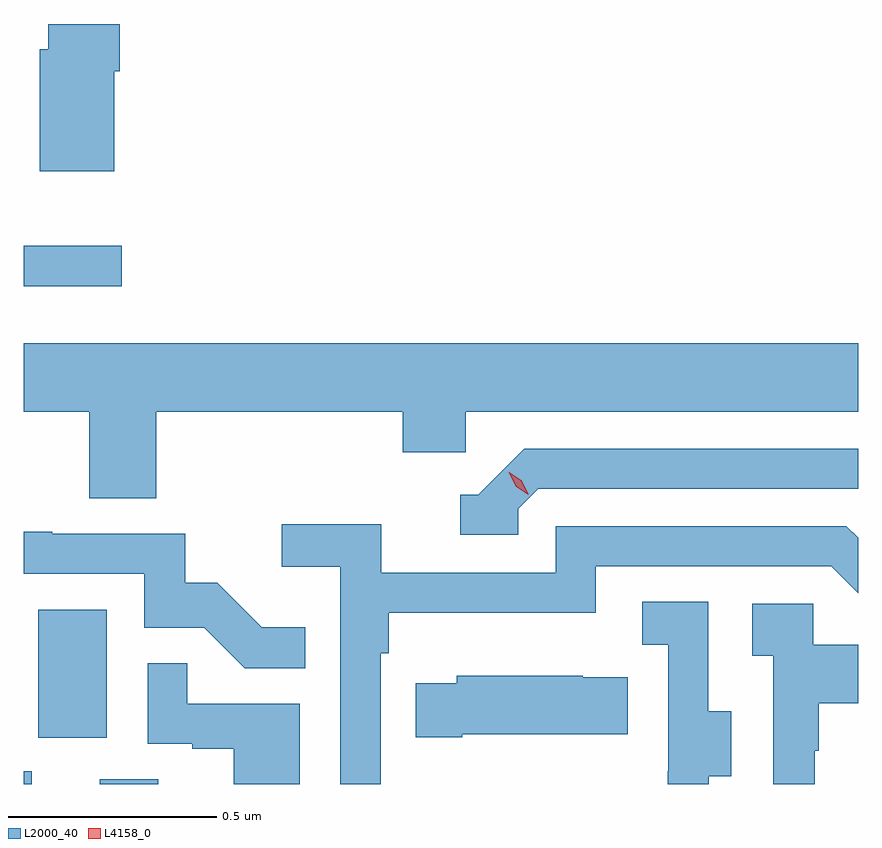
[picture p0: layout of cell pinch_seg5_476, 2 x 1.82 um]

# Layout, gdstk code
import gdstk
lib = gdstk.Library(unit=1e-6, precision=1e-09)
def R(c, l, rs):  # rectangles x0, y0, x1, y1
    for r in rs: c.add(gdstk.rectangle(r[:2], r[2:], *l))
def P(c, l, *ps):  # polygons
    for p in ps: c.add(gdstk.Polygon(p, *l))
L2000_40 = (2000, 40)
L4158_0 = (4158, 0)

pinch_seg5_476 = lib.new_cell('pinch_seg5_476')
R(pinch_seg5_476, L2000_40, [(890.337,859.863,890.356,859.893), (890.519,859.863,890.659,859.874), (890.372,859.974,890.536,860.281), (890.337,861.056,890.572,861.153)])
P(pinch_seg5_476, L2000_40, [(890.554,861.572),(890.567,861.572),(890.567,861.685),(890.396,861.685),(890.396,861.624),(890.375,861.624),(890.375,861.332),(890.554,861.332)],
  [(890.654,860.756),(891.245,860.756),(891.245,860.658),(891.396,860.658),(891.396,860.756),(892.337,860.756),(892.337,860.92),(890.337,860.92),(890.337,860.756),(890.494,860.756),(890.494,860.548),(890.654,860.548)],
  [(891.522,860.523),(891.57,860.571),(892.337,860.571),(892.337,860.667),(891.537,860.667),(891.426,860.556),(891.383,860.556),(891.383,860.46),(891.522,860.46)],
  [(891.192,860.177),(891.212,860.177),(891.212,860.273),(891.708,860.273),(891.708,860.385),(892.272,860.385),(892.337,860.32),(892.337,860.453),(892.309,860.481),(891.612,860.481),(891.612,860.37),(891.194,860.37),(891.194,860.486),(890.955,860.486),(890.955,860.384),(891.096,860.384),(891.096,859.863),(891.192,859.863)],
  [(891.011,860.239),(890.907,860.239),(890.8,860.346),(890.724,860.346),(890.724,860.463),(890.405,860.463),(890.405,860.468),(890.337,860.468),(890.337,860.367),(890.625,860.367),(890.625,860.238),(890.769,860.238),(890.867,860.14),(891.011,860.14)],
  [(891.979,859.882),(892.033,859.882),(892.033,860.037),(891.978,860.037),(891.978,860.3),(891.819,860.3),(891.819,860.197),(891.882,860.197),(891.882,859.893),(891.881,859.893),(891.881,859.863),(891.979,859.863)],
  [(892.233,859.943),(892.243,859.943),(892.243,860.057),(892.337,860.057),(892.337,860.197),(892.23,860.197),(892.23,860.295),(892.083,860.295),(892.083,860.171),(892.134,860.171),(892.134,859.863),(892.233,859.863)],
  [(890.998,860.055),(890.729,860.055),(890.729,860.153),(890.634,860.153),(890.634,859.959),(890.741,859.959),(890.741,859.947),(890.84,859.947),(890.84,859.863),(890.998,859.863)],
  [(891.388,859.982),(891.785,859.982),(891.785,860.119),(891.677,860.119),(891.677,860.122),(891.375,860.122),(891.375,860.104),(891.277,860.104),(891.277,859.975),(891.388,859.975)])
P(pinch_seg5_476, L4158_0, [(891.546,860.557),(891.516,860.577),(891.5,860.61),(891.5,860.61),(891.501,860.61),(891.531,860.59),(891.546,860.558),(891.546,860.557)])

lib.write_gds('pinch_seg5_476.gds')
